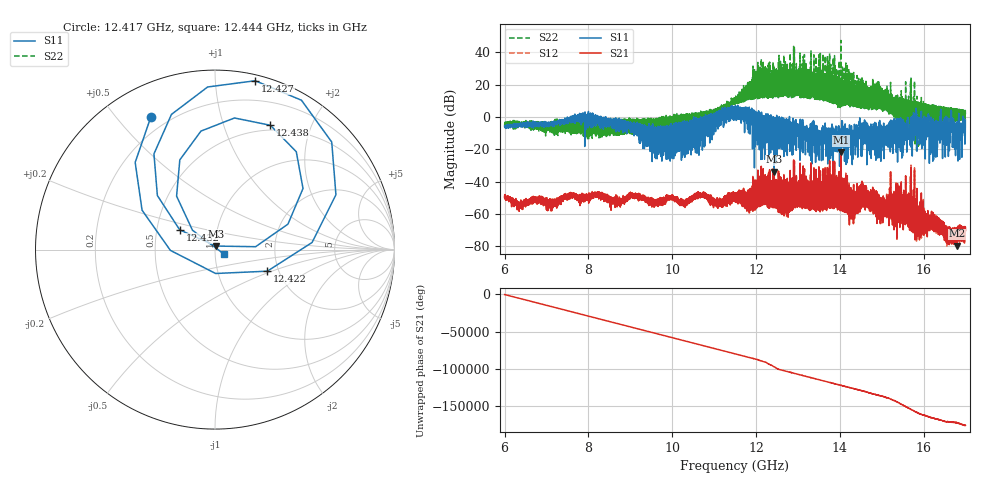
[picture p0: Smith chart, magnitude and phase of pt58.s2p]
#  HZ  S  RI  R  50.00
! Rohde & Schwarz Vector Network Analyzer
! Rohde-Schwarz,ZNA67-2Port,1332450062101215,3.01
! Created: UTC 10/16/2026, 10:43:20 AM
! freq[Hz]  re:S11  im:S11  re:S21  im:S21  re:S12  im:S12  re:S22  im:S22
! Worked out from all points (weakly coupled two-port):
!   11001 points, 6 GHz to 17 GHz, reference 50 ohm
!   highest |S21| = -21.91 dB at 14.028 GHz (marker M1); lowest = -79.7 dB at 16.803 GHz (marker M2)
!   lowest |S11| = -33.9 dB at 12.433 GHz (marker M3), VSWR 1.04, Z = 50.5 + j1.98 ohm
!   |S11| at or under -10 dB: 13.52865 GHz to 13.56785 GHz (39.2 MHz wide, 0.289 % of centre); 13.61107 GHz to 13.63763 GHz (26.57 MHz wide, 0.195 % of centre); 14.14681 GHz to 14.17318 GHz (26.37 MHz wide, 0.186 % of centre) (the widest 3 of 475)
!   |S22| runs from -20.7 to 47.3 dB; largest |S21 - S12| = 0.037
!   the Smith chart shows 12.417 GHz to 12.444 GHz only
!   S11 on the Smith chart (normalised r, x): 12.417 GHz: 0.14, +0.62; 12.422 GHz: 1.74, -0.47; 12.427 GHz: 0.04, +1.27; 12.432 GHz: 0.66, +0.15; 12.438 GHz: 0.44, +1.45; 12.444 GHz: 1.11, -0.06
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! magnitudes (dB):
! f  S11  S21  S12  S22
! 6 GHz  -5.9  -49.8  -49.7  -5.6
! 6.38 GHz  -4.3  -54.6  -54.4  -3.9
! 7.834 GHz  -0.6  -49.5  -49.4  -5.5
! 9.667 GHz  -6.0  -52.7  -52.8  -2.3
! 11.5 GHz  6.7  -50.4  -50.4  9.7
! 12.417 GHz  -1.7  -55.6  -55.3  11.9
! 12.422 GHz  -10.0  -52.5  -52.6  15.7
! 12.427 GHz  -0.3  -52.3  -52.3  15.3
! 12.432 GHz  -13.0  -36.7  -36.9  30.7
! 12.433 GHz  -33.9  -50.2  -50.0  18.1
! 12.438 GHz  -2.4  -50.6  -50.2  19.6
! 12.444 GHz  -24.7  -48.1  -48.0  21.8
! 13.334 GHz  -8.1  -52.9  -53.1  14.7
! 14.028 GHz  -12.2  -21.9  -21.2  47.3
! 14.276 GHz  -7.4  -54.6  -54.2  9.3
! 14.551 GHz  -12.4  -54.8  -54.4  6.2
! 15.167 GHz  -13.3  -48.9  -48.1  8.6
! 15.682 GHz  -9.7  -57.4  -56.3  1.0
! 15.802 GHz  -3.4  -64.6  -64.2  4.6
! 16.189 GHz  -8.6  -64.6  -65.4  4.2
! 16.803 GHz  -2.9  -79.7  -79.9  -1.8
! 17 GHz  -1.9  -70.3  -70.2  1.6
